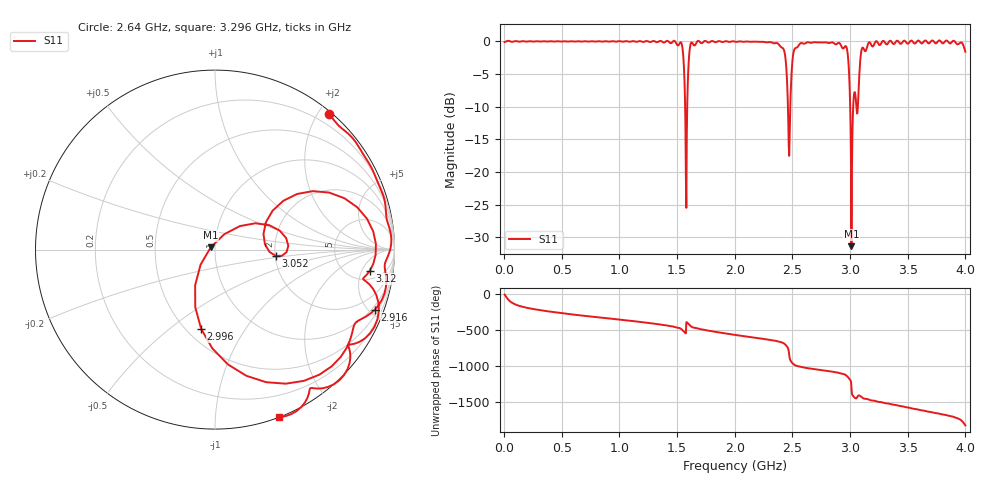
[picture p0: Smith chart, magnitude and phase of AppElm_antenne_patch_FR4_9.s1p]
! TOUCHSTONE file generated by CST MICROWAVE STUDIO
! Date and time: Tue Jun 14 12:33:51 2022
! Project name: AppElm_antenne_patch_FR4.cst
! Parameters = {L=45; W=58.5; e=0.035; h=1.6; lambda=0.190476; ls=120; w0=2.54; w1=0.974; ws=120; y0=18; y1=23.8}
! Header version: 2018
! Port assignment regex: !\s*Touchstone port\s*([0-9]+)\s*=\s*(CST MWS port|CST DS port)\s*([0-9]+|Zmin|Zmax)\s*\(\"(.*)\"\)(\s*mode\s*([0-9]+))?.*
! Touchstone port assignment:
! Touchstone port 1 = CST MWS port 1 ("")
# GHz S MA R 50
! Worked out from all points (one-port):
!   1000 points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, 4 MHz to 4 GHz, reference 50 ohm
!   lowest |S11| = -31.4 dB at 3.012 GHz (marker M1), VSWR 1.06, Z = 47.7 + j1.27 ohm
!   |S11| at or under -10 dB: 1.569 GHz to 1.588 GHz (18.33 MHz wide, 1.16 % of centre); 2.461 GHz to 2.481 GHz (20.59 MHz wide, 0.833 % of centre); 3.001 GHz to 3.027 GHz (26.42 MHz wide, 0.877 % of centre)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
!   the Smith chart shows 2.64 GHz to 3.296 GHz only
!   S11 on the Smith chart (normalised r, x): 2.64 GHz: 0.04, +2.15; 2.916 GHz: 0.77, -5.41; 2.996 GHz: 0.59, -0.65; 3.052 GHz: 2.01, -0.16; 3.12 GHz: 7, -7; 3.296 GHz: 0.00, -1.45
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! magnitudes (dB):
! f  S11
! 4 MHz  -0.1
! 504 MHz  0.0
! 1.004 GHz  0.0
! 1.504 GHz  -0.6
! 1.544 GHz  -0.7
! 1.564 GHz  -6.1
! 1.58 GHz  -25.5
! 1.592 GHz  -6.7
! 1.612 GHz  -0.9
! 1.628 GHz  -0.2
! 2.004 GHz  0.0
! 2.408 GHz  -0.9
! 2.436 GHz  -2.1
! 2.456 GHz  -7.2
! 2.472 GHz  -17.5
! 2.504 GHz  -2.3
! 2.64 GHz  -0.1
! 2.916 GHz  -0.4
! 2.972 GHz  -1.1
! 2.984 GHz  -2.8
! 2.996 GHz  -7.0
! 3.004 GHz  -12.9
! 3.012 GHz  -31.4
! 3.052 GHz  -9.4
! 3.12 GHz  -1.2
! 3.296 GHz  0.0
! 3.504 GHz  -0.3
! 4 GHz  -1.6
